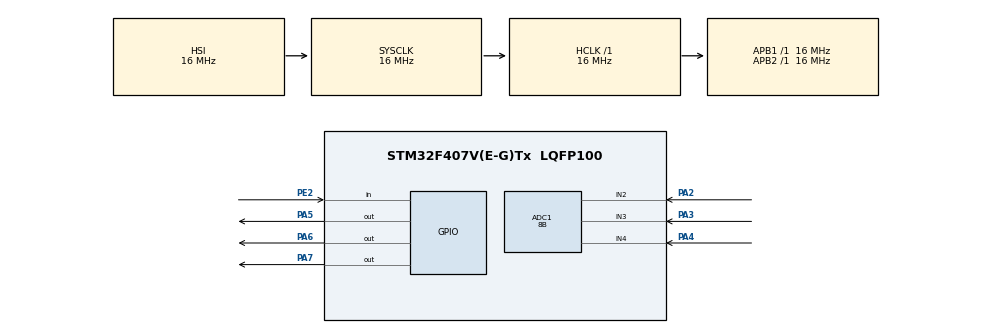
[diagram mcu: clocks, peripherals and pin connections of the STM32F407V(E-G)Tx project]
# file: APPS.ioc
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ADC1.Channel-0\#ChannelRegularConversion=ADC_CHANNEL_2
ADC1.Channel-1\#ChannelRegularConversion=ADC_CHANNEL_3
ADC1.Channel-2\#ChannelRegularConversion=ADC_CHANNEL_4
ADC1.ClockPrescaler=ADC_CLOCK_SYNC_PCLK_DIV8
ADC1.ContinuousConvMode=ENABLE
ADC1.DMAContinuousRequests=ENABLE
ADC1.NbrOfConversion=3
ADC1.NbrOfConversionFlag=1
ADC1.Rank-0\#ChannelRegularConversion=1
ADC1.Rank-1\#ChannelRegularConversion=2
ADC1.Rank-2\#ChannelRegularConversion=3
ADC1.Resolution=ADC_RESOLUTION_8B
ADC1.SamplingTime-0\#ChannelRegularConversion=ADC_SAMPLETIME_480CYCLES
ADC1.SamplingTime-1\#ChannelRegularConversion=ADC_SAMPLETIME_480CYCLES
ADC1.SamplingTime-2\#ChannelRegularConversion=ADC_SAMPLETIME_480CYCLES
ADC1.ScanConvMode=ENABLE
ADC1.master=1
Dma.ADC1.0.Direction=DMA_PERIPH_TO_MEMORY
Dma.ADC1.0.FIFOMode=DMA_FIFOMODE_DISABLE
Dma.ADC1.0.Instance=DMA2_Stream0
Dma.ADC1.0.MemDataAlignment=DMA_MDATAALIGN_BYTE
Dma.ADC1.0.MemInc=DMA_MINC_ENABLE
Dma.ADC1.0.Mode=DMA_CIRCULAR
Dma.ADC1.0.PeriphDataAlignment=DMA_PDATAALIGN_BYTE
Dma.ADC1.0.PeriphInc=DMA_PINC_DISABLE
Dma.ADC1.0.Priority=DMA_PRIORITY_LOW
Dma.Request0=ADC1
Mcu.Family=STM32F4
Mcu.Name=STM32F407V(E-G)Tx
Mcu.Package=LQFP100
NVIC.DMA2_Stream0_IRQn=true\:0\:0\:false\:false\:true\:false\:true
NVIC.PriorityGroup=NVIC_PRIORITYGROUP_4
PA2.Signal=ADCx_IN2
PA3.Signal=ADCx_IN3
PA4.Signal=ADCx_IN4
PA5.Signal=GPIO_Output
PA6.Signal=GPIO_Output
PA7.Signal=GPIO_Output
PE2.Signal=GPIO_Input
ProjectManager.HeapSize=0x200
ProjectManager.StackSize=0x400
ProjectManager.TargetToolchain=MDK-ARM V5.27
RCC.AHBFreq_Value=16000000
RCC.APB1Freq_Value=16000000
RCC.APB2Freq_Value=16000000
RCC.CortexFreq_Value=16000000
RCC.HSE_VALUE=25000000
RCC.HSI_VALUE=16000000
RCC.LSE_VALUE=32768
RCC.SYSCLKFreq_VALUE=16000000
RCC.VCOOutputFreq_Value=192000000
SH.ADCx_IN2.0=ADC1_IN2,IN2
SH.ADCx_IN3.0=ADC1_IN3,IN3
SH.ADCx_IN4.0=ADC1_IN4,IN4
board=custom

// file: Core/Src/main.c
/* USER CODE BEGIN Header */
/**
  ******************************************************************************
  * @file           : main.c
  * @brief          : Main program body
  ******************************************************************************
  * @attention
  *
  * <h2><center>&copy; Copyright (c) 2020 STMicroelectronics.
  * All rights reserved.</center></h2>
  *
  * This software component is licensed by ST under BSD 3-Clause license,
  * the "License"; You may not use this file except in compliance with the
  * License. You may obtain a copy of the License at:
  *                        opensource.org/licenses/BSD-3-Clause
  *
  ******************************************************************************
  */
/* USER CODE END Header */
#include "main.h"
#include "adc.h"
#include "dma.h"
#include "gpio.h"

/* USER CODE BEGIN Includes */
#include <stdbool.h>
#include <math.h>
/* USER CODE END Includes */

/* USER CODE BEGIN PD */
//pinmode setting
#define PedalsLedPin GPIOA,GPIO_PIN_5
#define ReadyLedPin GPIOA,GPIO_PIN_6
#define FaultLedPin GPIOA,GPIO_PIN_7
#define ReadyButtonPin GPIOE,GPIO_PIN_2

//pedal box parameter setting
#define BrakeAct 20
#define APPSAct 50
#define APPSLeast 10   //for the APPS plausibility check  => motor must shut down until the APPS signals less than 5% peadal travel
#define APPSDIFF 50
#define APPSGain 2
#define APPSRUPPER 200
#define APPSLUPPER 200
#define BPPSUPPER 100
#define APPSRLOWER 0
#define APPSLLOWER 0
#define BPPSLOWER 0
#define DISCONNECT 250
//
#define ReadyTime 1000   //ms
//
#define APPSR adcArr[0]
#define APPSL adcArr[1]
#define BPPS   adcArr[2]
#define APPS (adcArr[0]+adcArr[1])/2
/* USER CODE END PD */

void SystemClock_Config(void);
/* USER CODE BEGIN PFP */
void driving_mode(void);
void led_blink(void);
void pedals_mode(void);
uint8_t check_safety(void);
/* USER CODE END PFP */

/* USER CODE BEGIN 0 */

uint8_t adcArr[3];
uint8_t readyButton;
uint8_t errorNumber;
uint8_t appsAv;
uint16_t torque=0;
uint32_t startTime;
uint32_t duration;
bool pedals=0;
bool rtd_io=0;
//boolean readyButton;
/* USER CODE END 0 */

int main(void)
{
  /* USER CODE BEGIN 1 */
	GPIO_PinState readyButton;
  /* USER CODE END 1 */

  /* MCU Configuration--------------------------------------------------------*/

  /* Reset of all peripherals, Initializes the Flash interface and the Systick. */
  HAL_Init();

  /* Configure the system clock */
  SystemClock_Config();

  /* Initialize all configured peripherals */
  MX_GPIO_Init();
  MX_DMA_Init();
  MX_ADC1_Init();
  /* USER CODE BEGIN 2 */
	HAL_ADC_Start_DMA(&hadc1,(uint32_t *)adcArr,3);
  /* USER CODE END 2 */

  /* Infinite loop */
  while (1)
  {

    /* USER CODE BEGIN 3 */
		readyButton = HAL_GPIO_ReadPin(ReadyButtonPin);
		//APPSR=adcArr[0]*100/255;
		//APPSL=adcArr[1]*100/255;
		//BPPS =adcArr[2]*100/255;
		//HAL_GPIO_WritePin(ReadyLedPin,GPIO_PIN_SET);
		//HAL_GPIO_WritePin(FaultPin,readyButton);

		if(rtd_io==0){
				HAL_GPIO_WritePin(ReadyLedPin,GPIO_PIN_RESET);
				duration=0;
				do{
						if(BPPS>=BrakeAct &&  HAL_GPIO_ReadPin(ReadyButtonPin)==1){
								startTime=HAL_GetTick();
								while(duration<ReadyTime &&   HAL_GPIO_ReadPin(ReadyButtonPin)==1){
										duration = HAL_GetTick()-startTime;
								}
						}
				}while(duration<ReadyTime);
				 rtd_io=1;
			}

			if(rtd_io==1){
					HAL_GPIO_WritePin(FaultLedPin,GPIO_PIN_RESET);
					HAL_GPIO_WritePin(ReadyLedPin,GPIO_PIN_SET);
				  //entering drive mode
					driving_mode();

			}
	}
  /* USER CODE END 3 */
}

void SystemClock_Config(void)
{
  RCC_OscInitTypeDef RCC_OscInitStruct = {0};
  RCC_ClkInitTypeDef RCC_ClkInitStruct = {0};

  /** Configure the main internal regulator output voltage
  */
  __HAL_RCC_PWR_CLK_ENABLE();
  __HAL_PWR_VOLTAGESCALING_CONFIG(PWR_REGULATOR_VOLTAGE_SCALE1);
  /** Initializes the RCC Oscillators according to the specified parameters
  * in the RCC_OscInitTypeDef structure.
  */
  RCC_OscInitStruct.OscillatorType = RCC_OSCILLATORTYPE_HSI;
  RCC_OscInitStruct.HSIState = RCC_HSI_ON;
  RCC_OscInitStruct.HSICalibrationValue = RCC_HSICALIBRATION_DEFAULT;
  RCC_OscInitStruct.PLL.PLLState = RCC_PLL_NONE;
  if (HAL_RCC_OscConfig(&RCC_OscInitStruct) != HAL_OK)
  {
    Error_Handler();
  }
  /** Initializes the CPU, AHB and APB buses clocks
  */
  RCC_ClkInitStruct.ClockType = RCC_CLOCKTYPE_HCLK|RCC_CLOCKTYPE_SYSCLK
                              |RCC_CLOCKTYPE_PCLK1|RCC_CLOCKTYPE_PCLK2;
  RCC_ClkInitStruct.SYSCLKSource = RCC_SYSCLKSOURCE_HSI;
  RCC_ClkInitStruct.AHBCLKDivider = RCC_SYSCLK_DIV1;
  RCC_ClkInitStruct.APB1CLKDivider = RCC_HCLK_DIV1;
  RCC_ClkInitStruct.APB2CLKDivider = RCC_HCLK_DIV1;

  if (HAL_RCC_ClockConfig(&RCC_ClkInitStruct, FLASH_LATENCY_0) != HAL_OK)
  {
    Error_Handler();
  }
}

/* USER CODE BEGIN 4 */
void led_blink(void){
	HAL_GPIO_WritePin(ReadyLedPin,GPIO_PIN_SET);
	HAL_GPIO_WritePin(FaultLedPin,GPIO_PIN_SET);
}
void driving_mode(void){
  errorNumber= check_safety();
	switch(errorNumber){
		case 1:{
			//wiring disconnection
			HAL_GPIO_WritePin(FaultLedPin,GPIO_PIN_SET);
			torque=0;
			rtd_io=0;
			break;
		}
		case 2:{
			//apps throttle differ over
			HAL_GPIO_WritePin(FaultLedPin,GPIO_PIN_SET);
			torque=0;
			rtd_io=0;
			break;
		}
		case 3:{
			//bpps || apps out of range
			HAL_GPIO_WritePin(FaultLedPin,GPIO_PIN_SET);
			torque=0;
			rtd_io=0;
			break;
		}
		case 4:{
			//pedals =>enter pedals mode
			HAL_GPIO_WritePin(PedalsLedPin,GPIO_PIN_SET);
			torque=0;
			while(APPS>APPSLeast){
				HAL_Delay(10);
			}
			HAL_GPIO_WritePin(PedalsLedPin,GPIO_PIN_RESET);
			break;
		}
		case 5:{
			//brake acting
			torque=0;
			break;
		}
		case 0:{
			//accelaration mode
			torque=APPS*APPSGain;
			break;
		}

	}

}
uint8_t check_safety(void){
		//detect disconnect
		if(APPSR>DISCONNECT || APPSL>DISCONNECT || BPPS>DISCONNECT){
			return 1;
		}
		//apps difference over APPS different  limit
		if( __fabs (APPSR-APPSL)> APPSDIFF){
		return 2;
		}
		//check if sensor in the correct zone
		//BPPS 0~100 APPS 0~200
		if(APPSR>APPSRUPPER || APPSL>APPSLUPPER || BPPS>BPPSUPPER||APPSR<APPSRLOWER || APPSL<APPSLLOWER ||BPPS<BPPSLOWER){
			return 3;
		}
		//braking >20
		if(BPPS>BrakeAct){
			if(APPS>APPSAct){
				 pedals=1;
				return 4;	 //braking with pedal not safe
			}
			return 5;   //braking safely
		}
		return 0;   //accelaration mode
}

/* USER CODE END 4 */

void Error_Handler(void)
{
}

/************************ (C) COPYRIGHT STMicroelectronics *****END OF FILE****/
